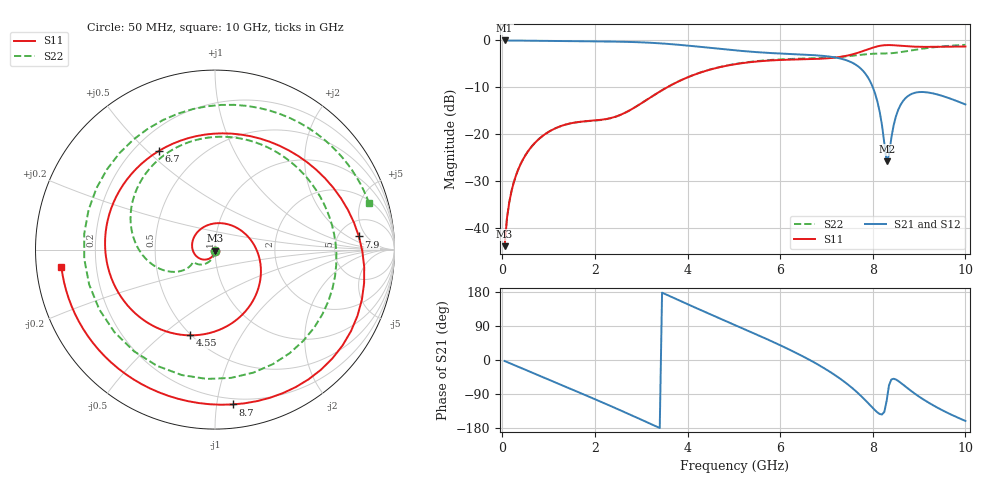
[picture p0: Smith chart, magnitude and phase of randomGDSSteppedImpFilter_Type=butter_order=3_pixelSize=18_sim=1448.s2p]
! freq	dB(S11)	phase(S11)	dB(S12)	phase(S12)
!  dB(S21)	phase(S21)	dB(S22)	phase(S22)
!S-par simulation data
#  GHz  S  DB  R 50
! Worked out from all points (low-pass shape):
!   200 points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, 50 MHz to 10 GHz, reference 50 ohm
!   highest |S21| = 0.00 dB at 50 MHz (marker M1); lowest = -25.9 dB at 8.3 GHz (marker M2)
!   |S21| within 3 dB of the highest: start of sweep to 6.46 GHz
!   lowest |S11| = -44.0 dB at 50 MHz (marker M3), VSWR 1.01, Z = 50 - j0.634 ohm
!   |S11| at or under -10 dB: start of sweep to 3.562 GHz
!   |S22| runs from -43.9 to -0.9 dB; largest |S21 - S12| = 0
!   S11 on the Smith chart (normalised r, x): 50 MHz: 1.00, -0.01; 4.55 GHz: 0.49, -0.63; 6.7 GHz: 0.30, +0.54; 7.9 GHz: 7.88, +3.27; 8.7 GHz: 0.16, -1.11; 10 GHz: 0.07, -0.05
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0.05  -43.95 -91.6  -0.00 -2.6  -0.00 -2.6  -43.93 -90.3
0.2  -32.15 -102.4  -0.02 -10.4  -0.02 -10.4  -32.13 -97.7
0.5  -24.52 -122.4  -0.05 -25.9  -0.05 -25.9  -24.51 -110.3
1.15  -18.75 -166.6  -0.13 -59.4  -0.13 -59.4  -18.76 -133.7
1.75  -17.30 145.3  -0.19 -90.3  -0.19 -90.3  -17.33 -147.8
2.7  -15.21 42.9  -0.31 -140.9  -0.31 -140.9  -15.22 -146.2
3.4  -10.93 -25.7  -0.61 -179.5  -0.61 -179.5  -10.92 -154.6
4.55  -6.07 -106.1  -1.65 117.5  -1.65 117.5  -6.03 160.4
5.05  -5.04 -135.7  -2.14 90.8  -2.14 90.8  -4.99 137.0
5.95  -4.20 171.1  -2.77 41.9  -2.77 41.9  -4.07 92.8
6.7  -3.98 119.5  -3.13 -4.0  -3.13 -4.0  -3.82 52.5
7.15  -3.70 81.9  -3.57 -37.1  -3.57 -37.1  -3.64 23.4
7.5  -3.12 48.4  -4.50 -68.3  -4.50 -68.3  -3.34 -7.1
7.9  -1.88 5.2  -7.97 -113.8  -7.97 -113.8  -2.91 -63.2
8.1  -1.27 -18.7  -13.07 -138.3  -13.07 -138.3  -2.82 -104.9
8.3  -0.99 -42.9  -25.85 -107.6  -25.85 -107.6  -2.78 -152.7
8.35  -0.99 -48.6  -24.48 -66.9  -24.48 -66.9  -2.76 -164.5
8.5  -1.06 -64.7  -16.21 -51.5  -16.21 -51.5  -2.63 162.5
8.7  -1.23 -83.5  -12.40 -69.4  -12.40 -69.4  -2.35 126.5
9.15  -1.37 -118.7  -11.07 -108.5  -11.07 -108.5  -1.66 72.9
9.55  -1.34 -145.7  -12.00 -135.6  -12.00 -135.6  -1.23 42.2
10  -1.30 -173.7  -13.67 -160.8  -13.67 -160.8  -0.94 16.7
